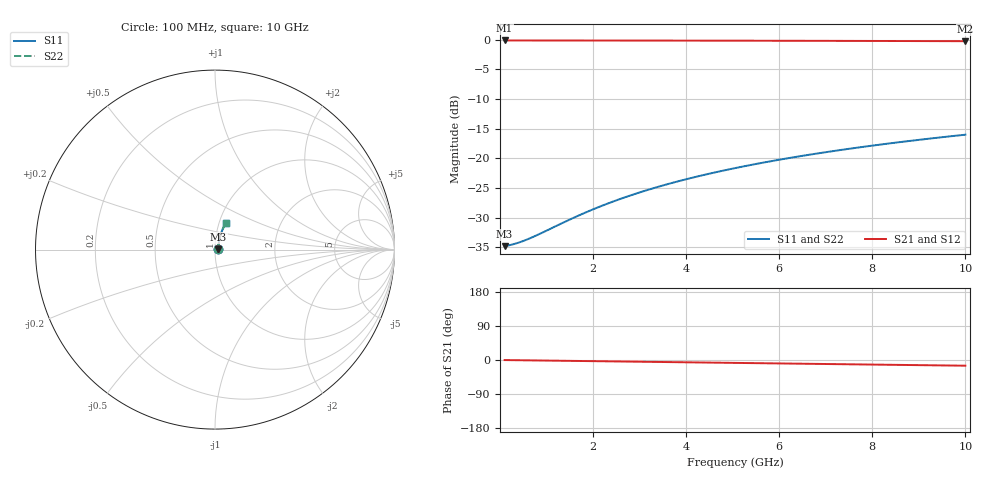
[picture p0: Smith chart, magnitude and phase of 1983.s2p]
# Hz S RI R 50.00
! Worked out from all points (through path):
!   100 points, 100 MHz to 10 GHz, reference 50 ohm
!   highest |S21| = -0.16 dB at 100 MHz (marker M1); lowest = -0.3 dB at 10 GHz (marker M2)
!   group delay of S21, straight-line fit = 4.18 ps
!   lowest |S11| = -34.8 dB at 100 MHz (marker M3), VSWR 1.04, Z = 51.9 + j0.161 ohm
!   |S11| at or under -10 dB: start of sweep to end of sweep
!   |S22| runs from -34.8 to -16.0 dB; largest |S21 - S12| = 0
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1e8  0.0182 0.00156  0.9818 -0.0026  0.9818 -0.0026  0.0182 0.00156
2e8  0.0183 0.00311  0.9817 -0.0052  0.9817 -0.0052  0.0183 0.00311
3e8  0.0184 0.00466  0.9816 -0.0078  0.9816 -0.0078  0.0184 0.00466
4e8  0.0185 0.00622  0.9815 -0.0104  0.9815 -0.0104  0.0185 0.00622
6e8  0.0187 0.00932  0.9813 -0.0156  0.9813 -0.0156  0.0187 0.00932
8e8  0.0189 0.0124  0.981 -0.0208  0.981 -0.0208  0.0189 0.0124
1.4e9  0.0197 0.0217  0.9802 -0.0363  0.9802 -0.0363  0.0197 0.0217
1.8e9  0.0203 0.0279  0.9795 -0.0467  0.9795 -0.0467  0.0203 0.0279
2.2e9  0.021 0.034  0.9787 -0.057  0.9787 -0.057  0.021 0.034
2.6e9  0.0219 0.0402  0.9777 -0.0674  0.9777 -0.0674  0.0219 0.0402
3e9  0.0229 0.0463  0.9766 -0.0777  0.9766 -0.0777  0.0229 0.0463
3.4e9  0.024 0.0524  0.9753 -0.0879  0.9753 -0.0879  0.024 0.0524
3.8e9  0.0252 0.0585  0.9739 -0.0982  0.9739 -0.0982  0.0252 0.0585
4.2e9  0.0266 0.0645  0.9724 -0.1084  0.9724 -0.1084  0.0266 0.0645
4.6e9  0.0281 0.0705  0.9707 -0.1186  0.9707 -0.1186  0.0281 0.0705
5.1e9  0.0301 0.0779  0.9684 -0.1312  0.9684 -0.1312  0.0301 0.0779
5.9e9  0.0337 0.0897  0.9643 -0.1514  0.9643 -0.1514  0.0337 0.0897
6.7e9  0.0379 0.1012  0.9596 -0.1713  0.9596 -0.1713  0.0379 0.1012
7.5e9  0.0424 0.1126  0.9544 -0.191  0.9544 -0.191  0.0424 0.1126
8.4e9  0.0481 0.1251  0.9479 -0.2129  0.9479 -0.2129  0.0481 0.1251
9.2e9  0.0537 0.1359  0.9416 -0.2322  0.9416 -0.2322  0.0537 0.1359
1e10  0.0596 0.1465  0.9347 -0.2511  0.9347 -0.2511  0.0596 0.1465
